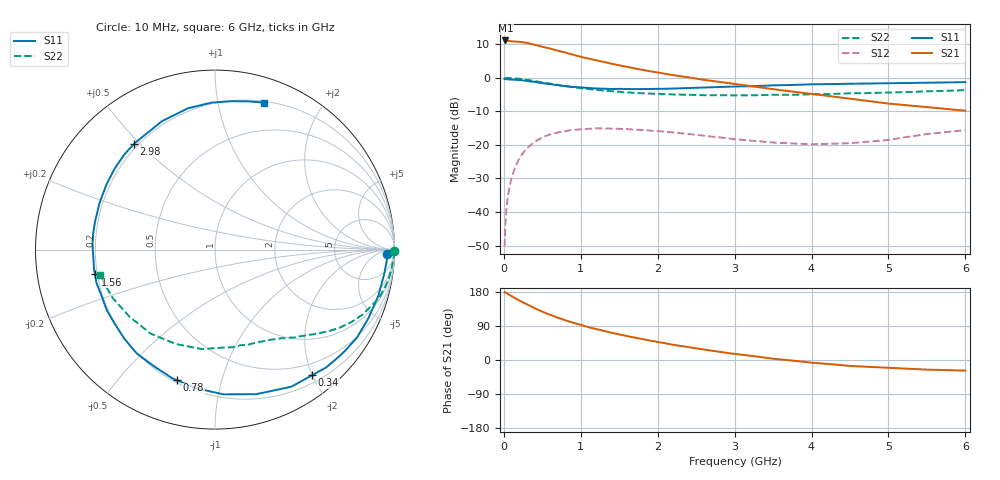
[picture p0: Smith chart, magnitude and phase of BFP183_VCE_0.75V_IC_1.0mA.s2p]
! Infineon Technologies  Discrete & RF Semiconductors
! BFP183
! VCE = 0.75V,  IC =  1.0 mA
! Common Emitter S-Parameters:  Jan 2016
# GHz  S  MA  R  50
!  f  S11  S21  S12  S22
! GHz  MAG  ANG  MAG  ANG  MAG  ANG  MAG  ANG
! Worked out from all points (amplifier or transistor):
!   210 points, 10 MHz to 6 GHz, reference 50 ohm
!   highest |S21| = 11.2 dB at 20 MHz (marker M1)
!   |S21| within 3 dB of that: start of sweep to 691.7 MHz
!   unconditionally stable (mu >= 1): 2.345 GHz to end of sweep
!   at 185 MHz: K = 0.08, MSG = 17.8 dB, |S12| = -24.8 dB
!   at 1.52 GHz: K = 0.63, MSG = 9.4 dB, |S12| = -15.2 dB
!   at 6 GHz: K = 1.28, MAG = -0.3 dB, |S12| = -15.6 dB
!   S11 on the Smith chart (normalised r, x): 10 MHz: 34, -21; 340 MHz: 0.31, -2.00; 780 MHz: 0.21, -0.73; 1.56 GHz: 0.19, -0.10; 2.98 GHz: 0.18, +0.48; 6 GHz: 0.21, +1.37
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0.01  0.958 -1.5  3.551 179.2  0.0031 85.6  0.9999 -0.6
0.02  0.9597 -3.3  3.61 178.4  0.0066 83.5  0.9993 -1.3
0.035  0.9554 -5.7  3.584 176.4  0.0114 85.4  0.9967 -2.2
0.055  0.9513 -8.9  3.555 173.7  0.0178 85.0  0.9937 -3.5
0.12  0.9396 -19.2  3.494 166.4  0.038 77.3  0.985 -7.8
0.24  0.918 -37.9  3.395 152.9  0.0734 66.8  0.958 -15.2
0.34  0.8846 -52.3  3.236 143.0  0.0976 57.9  0.92 -20.6
0.4  0.8743 -60.9  3.125 136.5  0.1112 53.4  0.8993 -23.7
0.5  0.8375 -74.1  2.913 127.3  0.1297 45.8  0.8591 -28.1
0.6  0.8078 -86.6  2.75 119.2  0.1438 39.1  0.8203 -32.0
0.78  0.7581 -106.2  2.414 106.0  0.16 29.0  0.7573 -37.5
1.02  0.7201 -128.6  2.032 91.2  0.1723 18.0  0.6959 -43.4
1.28  0.6906 -149.4  1.735 77.7  0.1767 8.6  0.6501 -48.9
1.56  0.683 -168.3  1.491 64.7  0.1728 1.0  0.6119 -54.1
2.02  0.6862 166.1  1.192 46.8  0.1606 -7.7  0.5766 -62.4
2.56  0.715 142.5  0.95 28.9  0.1387 -13.8  0.5532 -74.2
2.98  0.7415 127.5  0.818 16.5  0.1227 -14.8  0.5483 -84.3
3.1  0.7453 123.8  0.782 13.7  0.1192 -14.0  0.548 -87.4
3.5  0.7742 112.4  0.677 3.3  0.1087 -10.4  0.5589 -97.5
4.1  0.8033 99.0  0.558 -8.6  0.1031 -0.2  0.5702 -115.5
5.1  0.8341 82.3  0.404 -21.6  0.1239 14.9  0.608 -144.5
6  0.8639 71.4  0.324 -28.0  0.1664 13.7  0.658 -167.4
